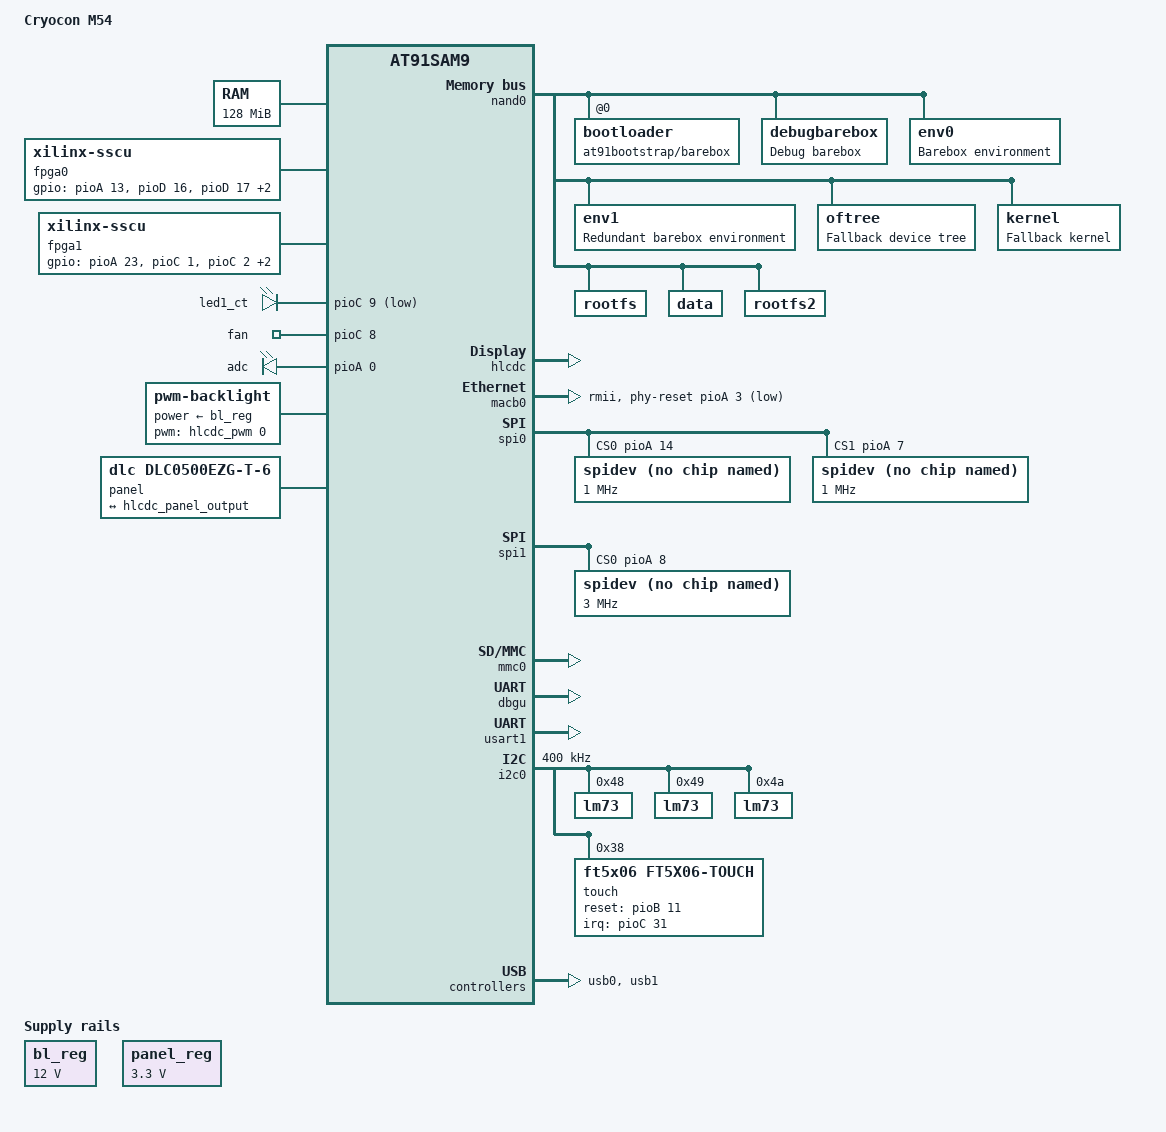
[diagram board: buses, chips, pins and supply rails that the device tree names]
/*
 * at91sam9g35ek.dts - Device Tree file for AT91SAM9G35-EK board
 *
 *  Copyright (C) 2012 Atmel,
 *                2012 Nicolas Ferre <nicolas.ferre@atmel.com>
 *
 * Licensed under GPLv2 or later.
 */
/dts-v1/;
#include "at91sam9g35.dtsi"

/ {
	model = "Cryocon M54";
	compatible = "atmel,at91sam9g35ek", "atmel,at91sam9x5ek", "atmel,at91sam9x5", "atmel,at91sam9";

    memory {
        reg = <0x20000000 0x8000000>;
    };

    clocks {
        #address-cells = <1>;
        #size-cells = <1>;
        ranges;

        main_clock: clock@0 {
            compatible = "atmel,osc", "fixed-clock";
            clock-frequency = <12000000>;
        };
    };

	slow_xtal {
		clock-frequency = <32768>;
	};

	main_xtal {
		clock-frequency = <12000000>;
	};


	chosen {
		bootargs = "console=ttyS0,115200 root=/dev/mtdblock1 rw rootfstype=ubifs ubi.mtd=1 root=ubi0:rootfs";
	};

    aliases {
        spi0 = &spi0;
        spi1 = &spi1;
        fpga0 = &fpga0;
        fpga1 = &fpga1;
    };

	ahb {
		nand0: nand@40000000 {
			nand-bus-width = <8>;
			nand-ecc-mode = "hw";
			atmel,has-pmecc;	/* Enable PMECC */
			atmel,pmecc-cap = <2>;
			atmel,pmecc-sector-size = <512>;
			nand-on-flash-bbt;
			status = "okay";
            pinctrl-0 = <&pinctrl_nand &pinctrl_nand0_m18>;

			bootloader@0 {
				label = "at91bootstrap/barebox";
				reg = <0x0 0x20000>;
			};

			debugbarebox@40000 {
				label = "Debug barebox";
				reg = <0x40000 0x40000>;
			};

			env0@80000 {
				label = "Barebox environment";
				reg = <0x80000 0x40000>;
			};
			
			env1@c0000 {
				label = "Redundant barebox environment";
				reg = <0xc0000 0x40000>;
			};			
			
			oftree@180000 {
				label = "Fallback device tree";
				reg = <0x180000 0x80000>;
			};

			kernel@200000 {
				label = "Fallback kernel";
				reg = <0x200000 0x600000>;
			};

			rootfs@800000 {
				label = "rootfs";
				reg = <0x0800000 0x6000000>;
			};
			
			data@6800000 {
				label = "data";
				reg = <0x6800000 0x3800000>;
			};
			
			rootfs2@a000000 {
				label = "rootfs2";
				reg = <0xa000000 0x6000000>;
			};
		};
		
		apb {
			rtc@fffffeb0 {
				status = "okay";
			};
			
			hlcdc: hlcdc@f8038000 {
				status = "okay";
				hlcdc-display-controller {
					pinctrl-names = "default";
					pinctrl-0 = <&pinctrl_lcd_base &pinctrl_lcd_m24x_rgb565>;

					port@0 {
						hlcdc_panel_output: endpoint@0 {
							reg = <0>;
							remote-endpoint = <&panel_input>;
						};
					};
				};
			};

			macb0: ethernet@f802c000 {
				phy-mode = "rmii";
				status = "okay";
				phy-reset-gpios = <&pioA 3 0>; /* PA3 GPIO phy reset */

                pinctrl-0 = <&pinctrl_macb0_rmii>;
			};

			adc0: adc@f804c000 {
				status = "disabled";
				pinctrl-names = "default";
				pinctrl-0 = <&pinctrl_adc0_ad0
					     &pinctrl_adc0_ad1
					     &pinctrl_adc0_ad2
					     &pinctrl_adc0_ad3
					     &pinctrl_adc0_adtrg>;
				atmel,adc-ts-wires = <4>;
				atmel,adc-ts-pressure-threshold = <10000>;
			};

			spi0: spi@f0000000 {
				status = "okay";
				cs-gpios = <&pioA 14 0>, <&pioA 7 0>;
				rt;
                spidev@0 {
                    compatible = "spidev";
                    spi-max-frequency = <1000000>;
                    reg = <0>;
                };
                spidev@1 {
                    compatible = "spidev";
                    spi-max-frequency = <1000000>;
                    reg = <1>;
                };
			};

			spi1: spi@f0004000 {
			    status = "okay";
                cs-gpios = <&pioA 8 0>, <&pioD 21 0>, <0>;
				rt;
                spidev@0 {
                    compatible = "spidev";
                    spi-max-frequency = <3000000>;
                    reg = <0>;
                };
                spidev@1 {
                	status = "disabled";
                    compatible = "spidev";
                    spi-max-frequency = <1000000>;
                    reg = <1>;
                };
            };	
            
			mmc0: mmc@f0008000 {
				pinctrl-0 = <
					&pinctrl_mmc0_slot0_clk_cmd_dat0
					&pinctrl_mmc0_slot0_dat1_3>;
				status = "okay";
				slot@0 {
					reg = <0>;
					bus-width = <4>;
					cd-gpios = <0>;
				};
			};
			
			mmc1: mmc@f000c000 {
				status = "disabled";
			};
			
			dbgu: serial@fffff200 {
				status = "okay";
			};

			usart1: serial@f8020000 {
				status = "okay";
			};
			
			i2c0: i2c@f8010000 {
				status = "okay";
				clock-frequency = <400000>;
				lm73@48 {
					compatible = "lm73";
					reg = <0x48>;
				};
				lm73@49 {
					compatible = "lm73";
					reg = <0x49>;
				};
				lm73@4a {
					compatible = "lm73";
					reg = <0x4a>;
				};
				touch: ft5316@38 {
					compatible = "ft5x06,ft5x06-touch";
		            reg = <0x38>;
		            pinctrl-names = "default";
		            pinctrl-0 = <&ft5316_pins>;
		            interrupt-parent = <&pioC>;
		            interrupts = <31 IRQ_TYPE_EDGE_FALLING>;
		            reset-gpios = <&pioB 11 0>; /* or PA27 TIOB0 */
				};
			};
			
			pinctrl@fffff400 {
				touch {
					ft5316_pins: touch-board {
				        atmel,pins =
				            <AT91_PIOC 31 AT91_PERIPH_A AT91_PINCTRL_PULL_UP 
				             AT91_PIOB 11 AT91_PERIPH_GPIO AT91_PINCTRL_PULL_UP>;
					};
				};
				fpga0 {
				    pinctrl_board_fpga0: fpga0-board {
				        atmel,pins =
				            <AT91_PIOA 13 AT91_PERIPH_GPIO AT91_PINCTRL_NONE 
				             AT91_PIOD 16 AT91_PERIPH_GPIO AT91_PINCTRL_NONE 
				             AT91_PIOD 17 AT91_PERIPH_GPIO AT91_PINCTRL_NONE 
				             AT91_PIOD 15 AT91_PERIPH_GPIO AT91_PINCTRL_NONE 
				             AT91_PIOA 12 AT91_PERIPH_GPIO AT91_PINCTRL_NONE>;
				     };
				};
				fpga1 {
				    pinctrl_board_fpga1: fpga1-board {
				        atmel,pins =
				            <AT91_PIOA 23 AT91_PERIPH_GPIO AT91_PINCTRL_NONE 
				             AT91_PIOC  1 AT91_PERIPH_GPIO AT91_PINCTRL_NONE 
				             AT91_PIOC  2 AT91_PERIPH_GPIO AT91_PINCTRL_NONE 
				             AT91_PIOC  0 AT91_PERIPH_GPIO AT91_PINCTRL_NONE 
				             AT91_PIOA 22 AT91_PERIPH_GPIO AT91_PINCTRL_NONE>;
				     };
				};
				nand0 {
					pinctrl_nand0_m18: nand0_m18 {
						atmel,pins =
							<3 14 0x0 0x1>;	/* PD14 WP# pull up */
					};
				};
				
			};

			
			fpga0: xilinx-sscu@0 {
			    compatible = "xilinx-sscu";
                status = "okay";
                pinctrl-names = "default";
                pinctrl-0 = <&pinctrl_board_fpga0>;
                gpios = <&pioA 13 0
                        &pioD 16 0
                        &pioD 17 0
                        &pioD 15 0
                        &pioA 12 0>;
            };

            fpga1: xilinx-sscu@1 {
			    compatible = "xilinx-sscu";
                status = "okay";
                pinctrl-names = "default";
                pinctrl-0 = <&pinctrl_board_fpga1>;
                gpios = <&pioA 23 0
                        &pioC 1 0
                        &pioC 2 0
                        &pioC 0 0
                        &pioA 22 0>;
            };

			watchdog@fffffe40 {
				status = "okay";
			};

			ssc0: ssc@f0010000 {
				status = "disabled";
			};
		};

		usb0: ohci@00600000 {
			status = "okay";
			num-ports = <3>;
			atmel,vbus-gpio = <0 /* &pioD 18 GPIO_ACTIVE_LOW *//* Activate to have access to port A */
					   &pioD 19 GPIO_ACTIVE_HIGH
					   &pioD 20 GPIO_ACTIVE_HIGH
					  >;
		};

		usb1: ehci@00700000 {
			status = "okay";
		};
	};
	
	leds {
		compatible = "gpio-leds";

		heartbeat {
			label = "led1_ct";
			gpios = <&pioC 9 1>;
			linux,default-trigger = "heartbeat";
		};
		
		fan {
			label = "fan";
			gpios = <&pioC 8 GPIO_ACTIVE_HIGH>;
			linux,default-trigger = "default-on";
			default-state = "on";
		};
		
		adc {
			label = "adc";
			gpios = <&pioA 0 GPIO_ACTIVE_HIGH>;
			linux,default-trigger = "default-on";
			default-state = "on";
		};
	};

	bl_reg: backlight_regulator {
		compatible = "regulator-fixed";
		regulator-name = "backlight-power-supply";
		regulator-min-microvolt = <12000000>;
		regulator-max-microvolt = <12000000>;
		status = "okay";
	};

	panel_reg: panel_regulator {
		compatible = "regulator-fixed";
		regulator-name = "panel-power-supply";
		regulator-min-microvolt = <3300000>;
		regulator-max-microvolt = <3300000>;
		status = "okay";
	};

	backlight: backlight {
		compatible = "pwm-backlight";
		pwms = <&hlcdc_pwm 0 50000 0>;
		brightness-levels = <0 4 8 16 32 64 128 255>;
		default-brightness-level = <6>;
		power-supply = <&bl_reg>;
		status = "okay";
	};

	panel: panel {
		compatible = "dlc,dlc0500ezg-t-6", "simple-panel";
		#address-cells = <1>;
		#size-cells = <0>;
		status = "okay";

		port@0 {
			#address-cells = <1>;
			#size-cells = <0>;

			panel_input: endpoint@0 {
				reg = <0>;
				remote-endpoint = <&hlcdc_panel_output>;
			};
		};
	};
};
